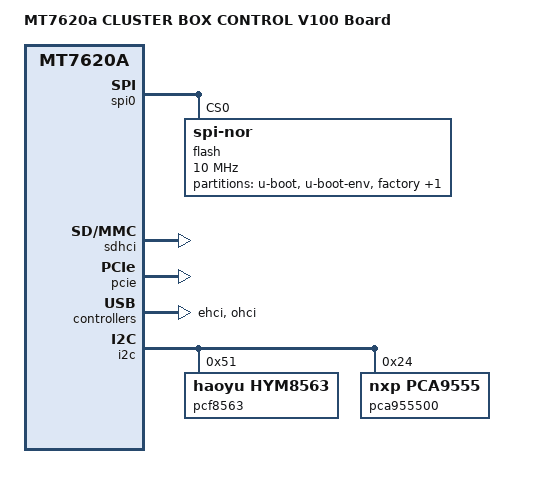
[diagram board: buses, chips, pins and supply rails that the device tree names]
#include "mt7620a.dtsi"

#include <dt-bindings/gpio/gpio.h>
#include <dt-bindings/input/input.h>

/ {
	compatible = "cluster-box-control-V100","ralink,mt7620a-evb", "ralink,mt7620a-soc";
	model = "MT7620a CLUSTER BOX CONTROL V100 Board";

	fan:gpio-pwms {
		compatible = "gpio-pwms";
		pinctrl-names = "default";
		#pwm-cells = <3>;
		status = "okay";

		fan1 {
			label = "fan1";
			gpios = <&gpio2 23 0>;
			labels = "rpm1";
			rpm,pin = <&gpio2 21 0>;
		};

		fan2 {
			label = "fan2";
			gpios = <&gpio2 22 0>;
			labels = "rpm2";
			rpm,pin = <&gpio2 20 0>;
		};
	};
};

&spi0 {
	status = "okay";

	flash@0 {
		compatible = "jedec,spi-nor";
		reg = <0>;
		spi-max-frequency = <10000000>;

		partitions {
			compatible = "fixed-partitions";
			#address-cells = <1>;
			#size-cells = <1>;

			partition@0 {
				label = "u-boot";
				reg = <0x0 0x30000>;
				read-only;
			};

			partition@30000 {
				label = "u-boot-env";
				reg = <0x30000 0x10000>;
				read-only;
			};

			factory: partition@40000 {
				label = "factory";
				reg = <0x40000 0x10000>;
				read-only;
			};

			partition@50000 {
				compatible = "denx,uimage";
				label = "firmware";
				reg = <0x50000 0xfb0000>;
			};
		};
	};
};
&state_default {
	gpio {
		groups = "rgmii1", "rgmii2";
		function = "gpio";
	};
};

/*&pinctrl {
	rtc {
		rtc_int: rtc-int {
			gpios = <&gpio1 7 GPIO_ACTIVE_LOW>;
		};
	};
};*/

&ethernet {
	mtd-mac-address = <&factory 0x10>;
	mediatek,portmap = "llllw";
};

&gsw {
	mediatek,port4-gmac;
	mediatek,ephy-base = /bits/ 8 <8>;
};

&sdhci {
	status = "okay";
};

&pcie {
	status = "okay";
};

&ehci {
	status = "okay";
};

&ohci {
	status = "okay";
};

&gpio0 {
	status = "okay";
};

&gpio1 {
	status = "okay";
};

&gpio2 {
	status = "okay";
};

&gpio3 {
	status = "okay";
};

&i2c {
	status = "okay";

	pcf8563: pcf8563@51 {
		compatible = "haoyu,hym8563";
		status = "okay";
		reg = <0x51>;
	};

	pca955500: pca95550@24 {
		compatible = "nxp,pca9555";
		status = "okay";
		reg = <0x24>;
	};
};
